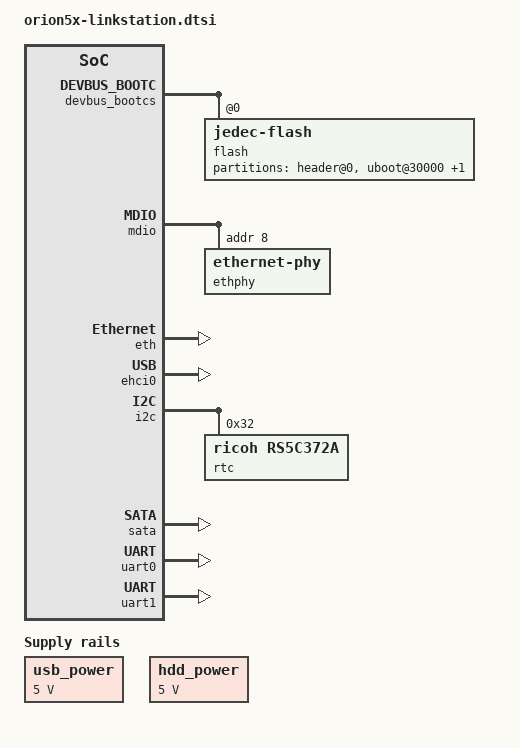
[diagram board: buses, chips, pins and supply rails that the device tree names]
/*
 * Device Tree common file for orion5x based Buffalo Linkstation
 *
 * Copyright (C) 2015, 2016
 * Roger Shimizu <rogershimizu@gmail.com>
 *
 * This file is dual-licensed: you can use it either under the terms
 * of the GPL or the X11 license, at your option. Note that this dual
 * licensing only applies to this file, and not this project as a
 * whole.
 *
 *  a) This file is free software; you can redistribute it and/or
 *     modify it under the terms of the GNU General Public License as
 *     published by the Free Software Foundation; either version 2 of the
 *     License, or (at your option) any later version.
 *
 *     This file is distributed in the hope that it will be useful,
 *     but WITHOUT ANY WARRANTY; without even the implied warranty of
 *     MERCHANTABILITY or FITNESS FOR A PARTICULAR PURPOSE.  See the
 *     GNU General Public License for more details.
 *
 * Or, alternatively,
 *
 *  b) Permission is hereby granted, free of charge, to any person
 *     obtaining a copy of this software and associated documentation
 *     files (the "Software"), to deal in the Software without
 *     restriction, including without limitation the rights to use,
 *     copy, modify, merge, publish, distribute, sublicense, and/or
 *     sell copies of the Software, and to permit persons to whom the
 *     Software is furnished to do so, subject to the following
 *     conditions:
 *
 *     The above copyright notice and this permission notice shall be
 *     included in all copies or substantial portions of the Software.
 *
 *     THE SOFTWARE IS PROVIDED "AS IS", WITHOUT WARRANTY OF ANY KIND,
 *     EXPRESS OR IMPLIED, INCLUDING BUT NOT LIMITED TO THE WARRANTIES
 *     OF MERCHANTABILITY, FITNESS FOR A PARTICULAR PURPOSE AND
 *     NONINFRINGEMENT. IN NO EVENT SHALL THE AUTHORS OR COPYRIGHT
 *     HOLDERS BE LIABLE FOR ANY CLAIM, DAMAGES OR OTHER LIABILITY,
 *     WHETHER IN AN ACTION OF CONTRACT, TORT OR OTHERWISE, ARISING
 *     FROM, OUT OF OR IN CONNECTION WITH THE SOFTWARE OR THE USE OR
 *     OTHER DEALINGS IN THE SOFTWARE.
 */

#include "orion5x-mv88f5182.dtsi"

/ {
	chosen {
		bootargs = "console=ttyS0,115200n8 earlyprintk";
		stdout-path = &uart0;
	};

	soc {
		ranges = <MBUS_ID(0xf0, 0x01) 0 0xf1000000 0x100000>,
				 <MBUS_ID(0x09, 0x00) 0 0xf2200000 0x800>,
				 <MBUS_ID(0x01, 0x0f) 0 0xf4000000 0x40000>;
	};

	restart_poweroff {
		compatible = "restart-poweroff";
	};

	regulators {
		compatible = "simple-bus";
		#address-cells = <1>;
		#size-cells = <0>;
		pinctrl-0 = <&pmx_power_usb &pmx_power_hdd>;
		pinctrl-names = "default";

		usb_power: regulator@1 {
			compatible = "regulator-fixed";
			reg = <1>;
			regulator-name = "USB Power";
			regulator-min-microvolt = <5000000>;
			regulator-max-microvolt = <5000000>;
			enable-active-high;
			regulator-always-on;
			regulator-boot-on;
		};

		hdd_power: regulator@2 {
			compatible = "regulator-fixed";
			reg = <2>;
			regulator-name = "HDD Power";
			regulator-min-microvolt = <5000000>;
			regulator-max-microvolt = <5000000>;
			enable-active-high;
			regulator-always-on;
			regulator-boot-on;
		};
	};
};

&pinctrl {
	pmx_power_hdd: pmx-power-hdd {
		marvell,function = "gpio";
	};

	pmx_power_usb: pmx-power-usb {
		marvell,function = "gpio";
	};
};

&devbus_bootcs {
	status = "okay";
	devbus,keep-config;

	flash@0 {
		compatible = "jedec-flash";
		reg = <0 0x40000>;
		bank-width = <1>;

		partitions {
			compatible = "fixed-partitions";
			#address-cells = <1>;
			#size-cells = <1>;

			header@0 {
				reg = <0 0x30000>;
				read-only;
			};

			uboot@30000 {
				reg = <0x30000 0xF000>;
				read-only;
			};

			uboot_env@3F000 {
				reg = <0x3F000 0x1000>;
			};
		};
	};
};

&mdio {
	status = "okay";

	ethphy: ethernet-phy {
		reg = <8>;
	};
};

&eth {
	status = "okay";

	ethernet-port@0 {
		phy-handle = <&ethphy>;
	};
};

&ehci0 {
	status = "okay";
};

&i2c {
	status = "okay";

	rtc@32 {
		compatible = "ricoh,rs5c372a";
		reg = <0x32>;
	};
};

&wdt {
	status = "disabled";
};

&sata {
	status = "okay";
	nr-ports = <1>;
};

&uart0 {
	status = "okay";
};

&uart1 {
	status = "okay";
};
